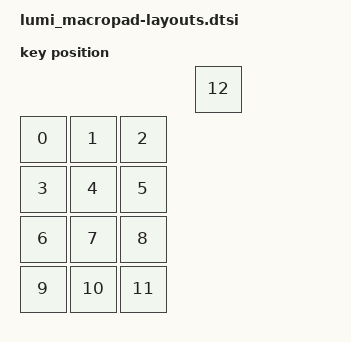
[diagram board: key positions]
\
#include <physical_layouts.dtsi>

/ {
    lumi_macropad_layout: lumi_macropad_layout {
        compatible = "zmk,physical-layout";
        display-name = "Lumi MacroPad 12+Encoder";

        /*
         * Order matches the keymap:
         * K1 K2 K3
         * K4 K5 K6
         * K7 K8 K9
         * K10 K11 K12
         * encoder push
         *
         * Encoder push is drawn at top-right in ZMK Studio.
         */
        keys
        //                         w   h    x    y    rot   rx   ry
            = <&key_physical_attrs 100 100    0  100      0    0    0>
            , <&key_physical_attrs 100 100  100  100      0    0    0>
            , <&key_physical_attrs 100 100  200  100      0    0    0>

            , <&key_physical_attrs 100 100    0  200      0    0    0>
            , <&key_physical_attrs 100 100  100  200      0    0    0>
            , <&key_physical_attrs 100 100  200  200      0    0    0>

            , <&key_physical_attrs 100 100    0  300      0    0    0>
            , <&key_physical_attrs 100 100  100  300      0    0    0>
            , <&key_physical_attrs 100 100  200  300      0    0    0>

            , <&key_physical_attrs 100 100    0  400      0    0    0>
            , <&key_physical_attrs 100 100  100  400      0    0    0>
            , <&key_physical_attrs 100 100  200  400      0    0    0>

            , <&key_physical_attrs 100 100  350    0      0    0    0>
            ;
    };
};
